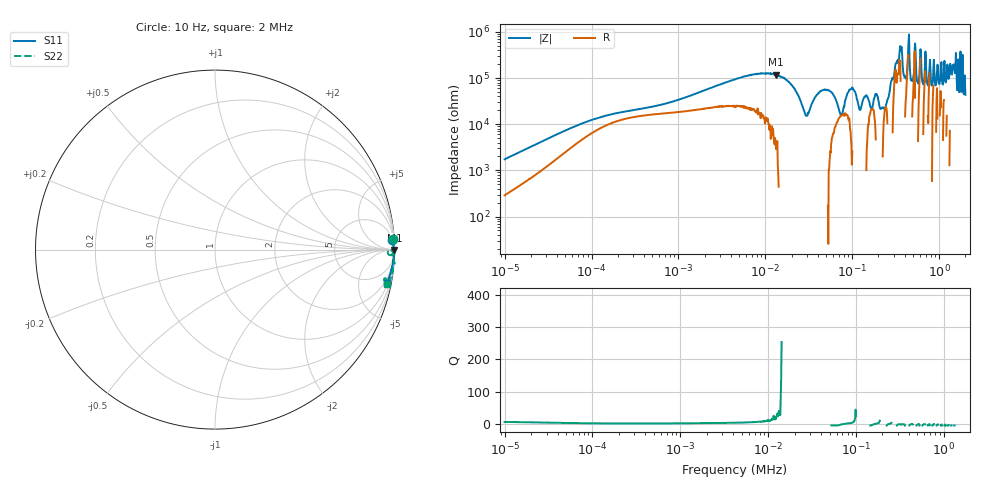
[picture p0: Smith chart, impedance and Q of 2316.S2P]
!Agilent Technologies,E5061B,MY49204007,A.02.12
!Date: Wed Jul 23 12:10:58 2025
!Data & Calibration Information:
!Freq	S11:SOLT2(ON)	S21:SOLT2(ON)	S12:SOLT2(ON)	S22:SOLT2(ON)
# Hz S dB R 50
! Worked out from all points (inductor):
!   1040 points, 10 Hz to 2 MHz, reference 50 ohm
!   read as one part in series: L = 26.5 H near 10.69 Hz
!   highest Q = 27.1 at 13.08 kHz (marker M1), where L = 1.45 H
!   self-resonance near 29.6 kHz
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10  -0.10 3.2  -24.89 -77.2  -24.90 -77.0  -0.08 3.4
77.209  -0.04 0.5  -40.33 -63.0  -40.33 -62.8  -0.02 0.7
588.818  -0.02 0.2  -48.22 -49.1  -48.22 -48.9  -0.01 0.4
4498.482  -0.01 0.0  -59.46 -75.6  -59.46 -74.9  0.01 0.2
13083.52  -0.00 -0.1  -61.54 -87.9  -61.46 -87.8  0.02 0.1
20439.93  -0.00 -0.2  -56.64 -99.0  -56.60 -98.6  0.01 -0.1
28982.91  -0.04 -0.3  -44.09 -164.0  -44.07 -164.0  -0.06 -0.2
34305.13  -0.02 -0.1  -48.93 119.2  -48.95 119.2  -0.00 0.1
51175.84  -0.01 -0.3  -54.88 91.2  -54.93 91.0  0.01 -0.2
74327.26  -0.04 -0.4  -43.87 7.9  -43.93 8.4  -0.07 -0.4
97726.23  -0.01 -0.5  -55.45 -87.2  -55.42 -85.5  0.01 -0.6
121739.2  -0.03 -0.7  -46.33 -177.8  -46.33 -177.0  -0.07 -0.8
188401.2  -0.01 -1.0  -52.95 -91.8  -53.01 -92.8  -0.05 -1.5
223827.8  -0.01 -1.2  -47.38 83.7  -47.35 83.9  -0.14 -1.6
261946.5  -0.02 -1.4  -52.01 -133.5  -52.16 -132.2  -0.16 -0.4
355448.7  -0.02 -1.9  -73.91 59.5  -74.81 66.0  -0.01 -1.4
399990  -0.02 -2.1  -60.26 91.5  -61.26 90.1  -0.00 -1.7
438287.4  -0.03 -2.3  -71.34 27.9  -73.18 25.3  -0.00 -1.9
488643.4  -0.02 -2.6  -59.66 78.7  -58.92 84.8  -0.00 -2.3
522214  -0.02 -2.8  -72.46 23.0  -71.51 36.2  -0.01 -2.5
1473590  -0.12 -8.0  -66.10 134.8  -63.98 132.1  -0.07 -9.5
2000000  -0.20 -11.1  -53.03 -127.5  -52.98 -128.5  -0.21 -11.4
